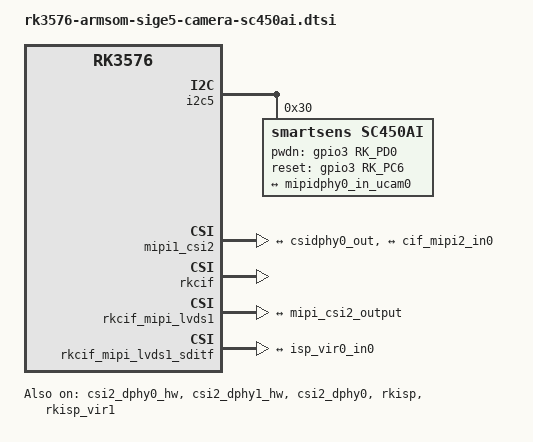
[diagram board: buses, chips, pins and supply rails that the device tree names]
&i2c5 {//J12
	status = "okay";
	pinctrl-names = "default";
	pinctrl-0 = <&i2c5m3_xfer>;
	sc450ai: sc450ai@30{
		status = "okay";
		compatible = "smartsens,sc450ai";
		reg = <0x30>;
		clocks = <&cru CLK_MIPI_CAMERAOUT_M1>;
		clock-names = "xvclk";
		pinctrl-names = "default";
		pinctrl-0 = <&cam_clk1m0_clk1>;
		pwdn-gpios = <&gpio3 RK_PD0 GPIO_ACTIVE_HIGH>;
		reset-gpios = <&gpio3 RK_PC6 GPIO_ACTIVE_HIGH>;
		rockchip,camera-module-index = <0>;
		rockchip,camera-module-facing = "back";
		rockchip,camera-module-name = "OT01";
		rockchip,camera-module-lens-name = "40IRC-F16";
		port {
			sc450ai_out: endpoint {
				remote-endpoint = <&mipidphy0_in_ucam0>;
				data-lanes = <1 2 3 4>;
			};
		};
	};
};

&csi2_dphy0_hw {
	status = "okay";
};

&csi2_dphy1_hw {
	status = "okay";
};

&csi2_dphy0 {
	status = "okay";

	ports {
		#address-cells = <1>;
		#size-cells = <0>;

		port@0 {
			reg = <0>;
			#address-cells = <1>;
			#size-cells = <0>;

			mipidphy0_in_ucam0: endpoint@1 {
				reg = <1>;
				remote-endpoint = <&sc450ai_out>;
				data-lanes = <1 2 3 4>;
			};

		};

		port@1 {
			reg = <1>;
			#address-cells = <1>;
			#size-cells = <0>;

			csidphy0_out: endpoint@0 {
				reg = <0>;
				remote-endpoint = <&mipi2_csi2_input>;
			};
		};
	};
};

&mipi1_csi2 {
	status = "okay";

	ports {
		#address-cells = <1>;
		#size-cells = <0>;

		port@0 {
			reg = <0>;
			#address-cells = <1>;
			#size-cells = <0>;

			mipi2_csi2_input: endpoint@1 {
				reg = <1>;
				remote-endpoint = <&csidphy0_out>;
			};
		};

		port@1 {
			reg = <1>;
			#address-cells = <1>;
			#size-cells = <0>;

			mipi_csi2_output: endpoint@0 {
				reg = <0>;
				remote-endpoint = <&cif_mipi2_in0>;
			};
		};
	};
};

&rkcif {
	status = "okay";
};

&rkcif_mipi_lvds1 {
	status = "okay";

	port {
		cif_mipi2_in0: endpoint {
			remote-endpoint = <&mipi_csi2_output>;
		};
	};
};

&rkcif_mipi_lvds1_sditf {
	status = "okay";

	port {
		mipi_lvds1_sditf: endpoint {
			remote-endpoint = <&isp_vir0_in0>;
		};
	};
};

&rkcif_mmu {
	status = "okay";
};

&rkisp {
	status = "okay";
};

&rkisp_mmu {
	status = "okay";
};

&rkisp_vir1 {
	status = "okay";

	port {
		#address-cells = <1>;
		#size-cells = <0>;

		isp_vir0_in0: endpoint@0 {
			reg = <0>;
			remote-endpoint = <&mipi_lvds1_sditf>;
		};
	};
};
